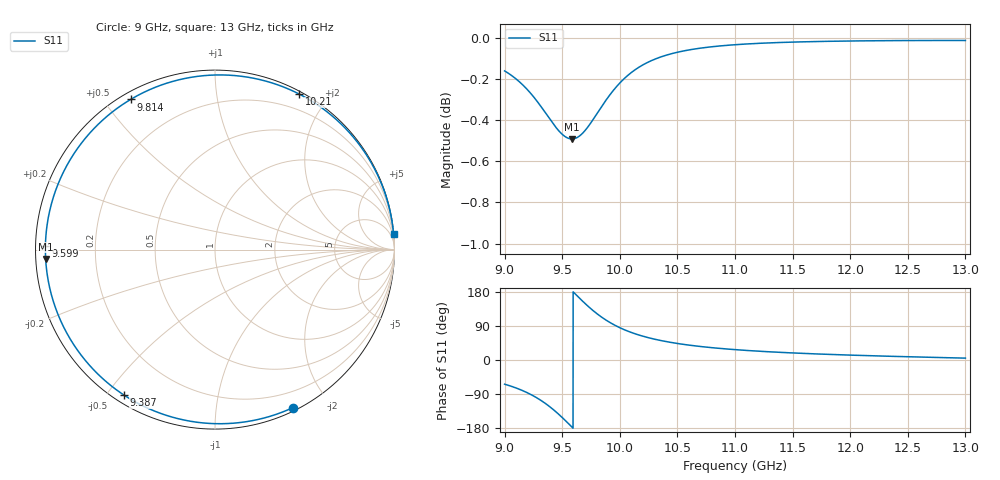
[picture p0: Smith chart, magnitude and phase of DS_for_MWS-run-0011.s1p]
! TOUCHSTONE file generated by CST DESIGN STUDIO
! Date and time: Tue Feb  4 13:52:52 2025
! Project name: C:\Work\MatlabApps\UnitCellOptimizationMatlab\CST\unitcell.cst
! Tree item: Tasks\Sweep1\SPara1\S-Parameters
! Header version: 2024
! Port assignment regex: !\s*Touchstone port\s*([0-9]+)\s*=\s*(CST MWS port|CST DES external port|CST DES block port)\s*(.+)\s* \(\"(.*)\"\)(\s*mode\s*([0-9]+))?.*
! Touchstone port assignment:
! Touchstone port 1 = CST DES external port 1 ("")
# GHz S MA R 50
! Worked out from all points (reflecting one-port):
!   4001 points, 9 GHz to 13 GHz, reference 50 ohm
!   lowest |S11| = -0.5 dB at 9.584 GHz (marker M1), VSWR 35.35, Z = 1.42 - j1.4 ohm
!   phase of S11 starts at -64 deg and turns -291 deg over the sweep
!   S11 on the Smith chart (normalised r, x): 9 GHz: 0.03, -1.61; 9.387 GHz: 0.03, -0.55; 9.599 GHz: 0.03, +0.01; 9.814 GHz: 0.03, +0.58; 10.21 GHz: 0.03, +1.68; 13 GHz: 0, +23
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9  0.9817 -63.8
9.048  0.9797 -68.3
9.117  0.9763 -75.9
9.236  0.9687 -92.4
9.316  0.9623 -106.7
9.387  0.956 -122.1
9.443  0.9513 -136.1
9.5  0.9474 -151.8
9.543  0.9456 -164.4
9.584  0.945 -176.8
9.599  0.9451 178.6
9.654  0.9467 162.0
9.715  0.9507 144.4
9.764  0.9549 131.4
9.814  0.9596 119.3
9.855  0.9634 110.4
9.899  0.9673 101.8
10  0.975 85.3
10.103  0.9809 72.3
10.215  0.9855 61.5
10.346  0.9891 52.0
10.5  0.992 43.6
10.72  0.9944 35.0
11  0.9961 27.4
11.5  0.9976 18.6
12  0.9982 12.9
12.5  0.9985 8.6
13  0.9985 4.9
